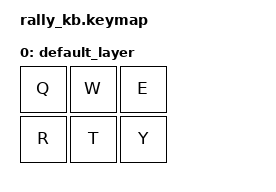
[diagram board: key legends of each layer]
/ {
    keymap {
        compatible = "zmk,keymap";

        default_layer {
            bindings = <
                &kp Q  &kp W  &kp E
                &kp R  &kp T  &kp Y
            >;
        };
    };
};
